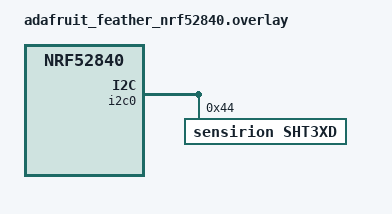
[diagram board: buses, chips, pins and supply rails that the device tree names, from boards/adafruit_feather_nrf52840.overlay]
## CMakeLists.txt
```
# SPDX-License-Identifier: Apache-2.0

cmake_minimum_required(VERSION 3.20.0)
find_package(Zephyr REQUIRED HINTS $ENV{ZEPHYR_BASE})
project(nrf52840sht31)

target_sources(app PRIVATE 
  src/main.c
  src/ble_service.c
)
```

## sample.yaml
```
sample:
  name: SHT31 Temperature and Humidity Sensor
  description: |
    This sample application demonstrates how to use the SHT31
    temperature and humidity sensor with an Adafruit nRF52840 board.
tests:
  sample.sensor.sht31:
    tags:
      - LED
      - gpio
      - sensors
      - i2c
    filter: dt_enabled_alias_with_parent_compat("led0", "gpio-leds") and dt_compat_enabled("sensirion,sht3xd")
    depends_on: gpio i2c
    harness: console
    harness_config:
      type: one_line
      regex:
        - "SHT31 Measurement:"
    integration_platforms:
      - adafruit_nrf52840
```

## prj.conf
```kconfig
CONFIG_GPIO=y
CONFIG_PRINTK=y
CONFIG_STDOUT_CONSOLE=y

# Sensor support (only when not using dummy)
CONFIG_I2C=y
CONFIG_SENSOR=y
CONFIG_SHT3XD=y

# Floating point support
CONFIG_CBPRINTF_FP_SUPPORT=y

# Math library support for dummy sensor
CONFIG_NEWLIB_LIBC=y
CONFIG_NEWLIB_LIBC_FLOAT_PRINTF=y

# CONFIG_HAS_BOOTLOADER=y
CONFIG_BOOTLOADER_MCUBOOT=n
CONFIG_BUILD_OUTPUT_UF2=y
CONFIG_USE_DT_CODE_PARTITION=y

# BLE Configuration for Eddystone
CONFIG_BT=y
CONFIG_BT_OBSERVER=y
CONFIG_BT_BROADCASTER=y
CONFIG_BT_DEVICE_NAME="nRF52840_DUMMY"

# Enable BLE controller
CONFIG_BT_CTLR=y
CONFIG_BT_LL_SW_SPLIT=y

# BLE advertisement settings
CONFIG_BT_DEVICE_NAME_DYNAMIC=y
CONFIG_BT_DEVICE_NAME_MAX=65

# Set the transmit power to the maximum +8 dBm for the nRF52840
CONFIG_BT_CTLR_TX_PWR_PLUS_8=y

# --- Enable Long-Range Coded PHY (based on Nordic sample) ---

# Enable Coded PHY support in the controller
CONFIG_BT_CTLR_PHY_CODED=y

# Enable Extended Advertising in controller
CONFIG_BT_CTLR_ADV_EXT=y

# Enable Extended Advertising APIs in the host
CONFIG_BT_EXT_ADV=y

# BLE debugging (enable to see what's happening)
CONFIG_LOG=y
CONFIG_LOG_DEFAULT_LEVEL=3
```

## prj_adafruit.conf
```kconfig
# GPIO and I2C support
CONFIG_GPIO=y
CONFIG_I2C=y
CONFIG_SENSOR=y
CONFIG_CBPRINTF_FP_SUPPORT=y
CONFIG_SHT3XD=y
CONFIG_PRINTK=y
CONFIG_STDOUT_CONSOLE=y

# Floating point support
CONFIG_NEWLIB_LIBC=y
CONFIG_NEWLIB_LIBC_FLOAT_PRINTF=y

# Bootloader settings for Adafruit board
# CONFIG_HAS_BOOTLOADER=y
CONFIG_BOOTLOADER_MCUBOOT=n
CONFIG_BUILD_OUTPUT_UF2=y
CONFIG_USE_DT_CODE_PARTITION=y

# BLE Configuration for Eddystone
CONFIG_BT=y
CONFIG_BT_OBSERVER=y
CONFIG_BT_BROADCASTER=y
CONFIG_BT_DEVICE_NAME="nRF52840_SHT31"

# Use static MAC address to avoid changing addresses
CONFIG_BT_PRIVACY=n
CONFIG_BT_ID_MAX=1

# Enable BLE controller
CONFIG_BT_CTLR=y

# BLE advertisement settings
CONFIG_BT_DEVICE_NAME_MAX=65

# Set the transmit power to the maximum +8 dBm for the nRF52840
CONFIG_BT_CTLR_TX_PWR_PLUS_8=y

# --- Enable Long-Range Coded PHY (based on Nordic sample) ---

# Enable Coded PHY support in the controller
CONFIG_BT_CTLR_PHY_CODED=y

# Enable Extended Advertising in controller
CONFIG_BT_CTLR_ADV_EXT=y

# Enable Extended Advertising APIs in the host
CONFIG_BT_EXT_ADV=y

# Logging
CONFIG_LOG=y
CONFIG_LOG_DEFAULT_LEVEL=3
```

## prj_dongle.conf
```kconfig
# Base configuration
CONFIG_GPIO=y
CONFIG_I2C=y
CONFIG_SENSOR=y
CONFIG_CBPRINTF_FP_SUPPORT=y
CONFIG_SHT3XD=y
CONFIG_PRINTK=y
CONFIG_STDOUT_CONSOLE=y

# Math library support for dummy sensor
CONFIG_NEWLIB_LIBC=y
CONFIG_NEWLIB_LIBC_FLOAT_PRINTF=y

# BLE Configuration for Eddystone
CONFIG_BT=y
CONFIG_BT_OBSERVER=y
CONFIG_BT_BROADCASTER=y
CONFIG_BT_DEVICE_NAME="nRF52840_DUMMY"

# Use static MAC address to avoid changing addresses
CONFIG_BT_PRIVACY=n
CONFIG_BT_ID_MAX=1

# Enable BLE controller
CONFIG_BT_CTLR=y

# BLE advertisement settings
CONFIG_BT_DEVICE_NAME_DYNAMIC=y
CONFIG_BT_DEVICE_NAME_MAX=65

# Set the transmit power to the maximum +8 dBm for the nRF52840
CONFIG_BT_CTLR_TX_PWR_PLUS_8=y

# --- Enable Long-Range Coded PHY (based on Nordic sample) ---

# Enable Coded PHY support in the controller
CONFIG_BT_CTLR_PHY_CODED=y

# Enable Extended Advertising in controller
CONFIG_BT_CTLR_ADV_EXT=y

# Enable Extended Advertising APIs in the host
CONFIG_BT_EXT_ADV=y

# Logging
CONFIG_LOG=y
CONFIG_LOG_DEFAULT_LEVEL=3

# CONFIG_HAS_BOOTLOADER=y
CONFIG_BOOTLOADER_MCUBOOT=n
CONFIG_BUILD_OUTPUT_UF2=y
CONFIG_USE_DT_CODE_PARTITION=y
# CONFIG_BOOTLOADER_MCUBOOT=y
```

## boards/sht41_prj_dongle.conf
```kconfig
# SHT41 Configuration for nRF52840 Dongle
# Base configuration
CONFIG_GPIO=y
CONFIG_I2C=y
CONFIG_SENSOR=y
CONFIG_CBPRINTF_FP_SUPPORT=y
CONFIG_SHT4X=y
CONFIG_PRINTK=y
CONFIG_STDOUT_CONSOLE=y

# BLE Configuration
CONFIG_BT=y
CONFIG_BT_PERIPHERAL=y
CONFIG_BT_DEVICE_NAME="nRF52840_SHT31"
CONFIG_BT_DEVICE_APPEARANCE=833
CONFIG_BT_MAX_CONN=3
CONFIG_BT_GATT_DYNAMIC_DB=y

# Enable BLE services
CONFIG_BT_DIS=y
CONFIG_BT_DIS_MANUF="Nordic"
CONFIG_BT_DIS_MODEL="nRF52840 Dongle"
CONFIG_BT_DIS_HW_REV=y
CONFIG_BT_DIS_FW_REV=y
CONFIG_BT_DIS_SW_REV=y

# BLE advertisement
CONFIG_BT_DEVICE_NAME_DYNAMIC=y
CONFIG_BT_DEVICE_NAME_MAX=65

# # Logging
# CONFIG_LOG=y
# CONFIG_BT_DEBUG_LOG=y
```

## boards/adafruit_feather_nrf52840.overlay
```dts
/*
 * Copyright (c) 2023 Nordic Semiconductor ASA
 *
 * SPDX-License-Identifier: Apache-2.0
 */

&i2c0 {
    status = "okay";

    sht3xd: sht31d@44 {
        compatible = "sensirion,sht3xd";
        reg = <0x44>; /* Use 0x45 if your sensor uses the alternate address */
        label = "SHT3XD";
    };
};
```

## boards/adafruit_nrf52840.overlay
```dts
/*
 * Copyright (c) 2023 Nordic Semiconductor ASA
 *
 * SPDX-License-Identifier: Apache-2.0
 */

// &i2c0 {
// 	status = "okay";
// 	sht31: sht31@44 {
// 		compatible = "sensirion,sht3xd";
// 		reg = <0x44>;
// 		status = "okay";
// 	};
// };

&i2c0 {
    status = "okay";

    sht3xd: sht31d@44 {
        compatible = "sensirion,sht3xd";
        reg = <0x44>; /* Use 0x45 if your sensor uses the alternate address */
        label = "SHT3XD";
    };
};
```

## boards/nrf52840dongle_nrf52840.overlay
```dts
/*
 * Copyright (c) 2023 Nordic Semiconductor ASA
 *
 * SPDX-License-Identifier: Apache-2.0
 */

/* Configure I2C0 for SHT31 sensor */
&i2c0 {
	status = "okay";
	clock-frequency = <I2C_BITRATE_STANDARD>;

	sht31: sht31@44 {
		compatible = "sensirion,sht3xd";
		reg = <0x44>;
		status = "okay";
	};
};

/* Use the red LED on the nRF52840 Dongle */
/ {
	aliases {
		led0 = &led1_red;
	};
};
```

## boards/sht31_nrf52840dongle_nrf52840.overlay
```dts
/*
 * Copyright (c) 2023 Nordic Semiconductor ASA
 *
 * SPDX-License-Identifier: Apache-2.0
 */

/* Configure I2C0 for SHT31 sensor */
&i2c0 {
	status = "okay";
	clock-frequency = <I2C_BITRATE_STANDARD>;
	pinctrl-0 = <&i2c0_default>;
	pinctrl-1 = <&i2c0_sleep>;
	pinctrl-names = "default", "sleep";

	sht31: sht31@44 {
		compatible = "sensirion,sht3xd";
		reg = <0x44>;
		status = "okay";
	};
};

/* Define I2C pinctrl settings to use pins 0.15 (SCL) and 0.17 (SDA) */
&pinctrl {
	i2c0_default: i2c0_default {
		group1 {
			psels = <NRF_PSEL(TWIM_SCL, 0, 15)>,
				<NRF_PSEL(TWIM_SDA, 0, 17)>;
			bias-pull-up;
		};
	};

	i2c0_sleep: i2c0_sleep {
		group1 {
			psels = <NRF_PSEL(TWIM_SCL, 0, 15)>,
				<NRF_PSEL(TWIM_SDA, 0, 17)>;
			low-power-enable;
		};
	};
};

/* Use the red LED on the nRF52840 Dongle */
/ {
	aliases {
		led0 = &led1_red;
	};
};
```

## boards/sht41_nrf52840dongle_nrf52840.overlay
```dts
/*
 * Copyright (c) 2023 Nordic Semiconductor ASA
 *
 * SPDX-License-Identifier: Apache-2.0
 */

/* Configure I2C0 for SHT41 sensor */
&i2c0 {
	status = "okay";
	clock-frequency = <I2C_BITRATE_STANDARD>;
	pinctrl-0 = <&i2c0_default>;
	pinctrl-1 = <&i2c0_sleep>;
	pinctrl-names = "default", "sleep";

	sht41: sht41@44 {
		compatible = "sensirion,sht4x";
		reg = <0x44>;
		repeatability = <2>;  /* 0:low, 1:medium, 2:high */
		status = "okay";
	};
};

/* Define I2C pinctrl settings to use pins 0.15 (SCL) and 0.17 (SDA) */
&pinctrl {
	i2c0_default: i2c0_default {
		group1 {
			psels = <NRF_PSEL(TWIM_SCL, 0, 15)>,
				<NRF_PSEL(TWIM_SDA, 0, 17)>;
		};
	};

	i2c0_sleep: i2c0_sleep {
		group1 {
			psels = <NRF_PSEL(TWIM_SCL, 0, 15)>,
				<NRF_PSEL(TWIM_SDA, 0, 17)>;
			low-power-enable;
		};
	};
};

/* Use the red LED on the nRF52840 Dongle */
/ {
	aliases {
		led0 = &led1_red;
	};
};
```

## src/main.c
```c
/*
 * Copyright (c) 2016 Intel Corporation
 * Copyright (c) 2023 Nordic Semiconductor ASA
 *
 * SPDX-License-Identifier: Apache-2.0
 */

#include <stdio.h>
#include <zephyr/kernel.h>
#include <zephyr/drivers/gpio.h>
#include <zephyr/drivers/sensor.h>
#include <zephyr/logging/log.h>
#include <math.h>
#include "conf.h"
#include "ble_service.h"

#if USE_SHT31
LOG_MODULE_REGISTER(sht31_ble, CONFIG_LOG_DEFAULT_LEVEL);
#elif USE_SHT41
LOG_MODULE_REGISTER(sht41_ble, CONFIG_LOG_DEFAULT_LEVEL);
#elif USE_DUMMY_SENSOR
LOG_MODULE_REGISTER(dummy_ble, CONFIG_LOG_DEFAULT_LEVEL);
#endif

/* The devicetree node identifier for the "led0" alias. */
#define LED0_NODE DT_ALIAS(led0)

#if USE_SHT31
/* The devicetree node identifier for the SHT31 sensor */
#define TEMP_HUM_SENSOR_NODE DT_INST(0, sensirion_sht3xd)
#define SENSOR_NAME "SHT31"
#elif USE_SHT41
/* The devicetree node identifier for the SHT41 sensor */
#define TEMP_HUM_SENSOR_NODE DT_INST(0, sensirion_sht4x)
#define SENSOR_NAME "SHT41"
#elif USE_DUMMY_SENSOR
#define SENSOR_NAME "DUMMY"
#endif

/* Forward declarations */
static void indicate_error(const struct gpio_dt_spec *led_dev, uint8_t error_code);
#if USE_DUMMY_SENSOR
static void process_dummy_sensor_sample(void);
#else
static void process_sensor_sample(const struct device *dev);
#endif

/*
 * A build error on this line means your board is unsupported.
 * See the sample documentation for information on how to fix this.
 */
static const struct gpio_dt_spec led = GPIO_DT_SPEC_GET(LED0_NODE, gpios);

void process_sensor_sample(const struct device *dev)
{
	struct sensor_value temp, hum;
	float temperature, humidity;
	static bool error_reported = false;
	
	if (sensor_sample_fetch(dev) < 0) {
		printf("%s sensor sample fetch failed\n", SENSOR_NAME);
		if (!error_reported) {
			indicate_error(&led, ERROR_SENSOR_FETCH_FAILED);
			error_reported = true;
		}
		return;
	}

	if (sensor_channel_get(dev, SENSOR_CHAN_AMBIENT_TEMP, &temp) < 0) {
		printf("Cannot read temperature data from %s\n", SENSOR_NAME);
		if (!error_reported) {
			indicate_error(&led, ERROR_SENSOR_TEMP_READ_FAILED);
			error_reported = true;
		}
		return;
	}

	if (sensor_channel_get(dev, SENSOR_CHAN_HUMIDITY, &hum) < 0) {
		printf("Cannot read humidity data from %s\n", SENSOR_NAME);
		if (!error_reported) {
			indicate_error(&led, ERROR_SENSOR_HUM_READ_FAILED);
			error_reported = true;
		}
		return;
	}
	
	/* If we've made it here, reset the error_reported flag */
	error_reported = false;

	/* Convert sensor values to floating point */
	temperature = sensor_value_to_double(&temp);
	humidity = sensor_value_to_double(&hum);
	/* Display temperature and humidity values */
	printf("%s Measurement:\n", SENSOR_NAME);
	printf("  Temperature: %.2f °C\n", (double)temperature);
	printf("  Humidity: %.2f %%\n", (double)humidity);

	/* Update BLE characteristics and notify connected clients */
	ble_update_sensor_values(temperature, humidity);
}



int main(void)
{
	int ret;
	bool led_state = true;
	
#if !USE_DUMMY_SENSOR
#if USE_SHT31
	const struct device *sensor_dev = DEVICE_DT_GET_ANY(sensirion_sht3xd);
#elif USE_SHT41
	const struct device *sensor_dev = DEVICE_DT_GET_ANY(sensirion_sht4x);
#endif
#endif

	/* Initialize LED first, as we'll need it to indicate errors */
	if (!gpio_is_ready_dt(&led)) {
		printf("Error: LED device is not ready\n");
		/* Can't indicate this error as LED isn't ready */
		return -1;
	}

	ret = gpio_pin_configure_dt(&led, GPIO_OUTPUT_ACTIVE);
	if (ret < 0) {
		printf("Error: Failed to configure LED pin\n");
		/* Can't indicate this error properly, but try a simple blink */
		gpio_pin_set_dt(&led, 1);
		k_msleep(100);
		gpio_pin_set_dt(&led, 0);
		return -1;
	}

	/* Initialize temperature/humidity sensor */
#if USE_DUMMY_SENSOR
	printf("%s sensor mode enabled (no physical sensor required)\n", SENSOR_NAME);
#else
	if (!device_is_ready(sensor_dev)) {
		printf("Error: %s device not found or not ready\n", SENSOR_NAME);
		indicate_error(&led, ERROR_SENSOR_NOT_READY);
		return -1;
	}
	printf("%s sensor is ready\n", SENSOR_NAME);
#endif
	printf("Sampling every %d ms\n", SLEEP_TIME_MS);
	
	/* Initialize Bluetooth */
	ret = ble_init();
	if (ret != 0) {
		printf("BLE initialization failed with error: %d\n", ret);
		indicate_error(&led, ERROR_BLE_INIT_FAILED);
		return -1;
	}

	while (1) {
		/* Toggle LED to indicate the system is running */
		ret = gpio_pin_toggle_dt(&led);
		if (ret < 0) {
			return -1;
		}

		led_state = !led_state;
		
		/* Sample and display sensor data */
#if USE_DUMMY_SENSOR
		process_dummy_sensor_sample();
#else
		process_sensor_sample(sensor_dev);
#endif
		
		/* Sleep for the specified time */
		k_msleep(SLEEP_TIME_MS);
	}
	return 0;
}

/*
 * Function to indicate error codes via LED blink patterns
 * Error code is indicated by number of fast blinks:
 * - LED will blink quickly N times, where N is the error code
 * - Then pause for ERROR_BLINK_PAUSE_MS
 * - Repeat the sequence ERROR_BLINK_REPEAT times
 */
static void indicate_error(const struct gpio_dt_spec *led_dev, uint8_t error_code)
{
	int ret;
	
	if (error_code == ERROR_NONE) {
		return; /* No error to indicate */
	}
	
	printf("Error occurred: Code %d\n", error_code);
	
	/* Repeat the error pattern multiple times */
	for (int repeat = 0; repeat < ERROR_BLINK_REPEAT; repeat++) {
		/* First, ensure LED is off */
		gpio_pin_set_dt(led_dev, 0);
		k_msleep(ERROR_BLINK_PAUSE_MS);
		
		/* Blink the LED according to error code */
		for (int i = 0; i < error_code; i++) {
			/* LED on */
			ret = gpio_pin_set_dt(led_dev, 1);
			if (ret < 0) {
				/* If LED control fails, we can't indicate errors */
				return;
			}
			k_msleep(ERROR_BLINK_FAST_MS);
			
			/* LED off */
			gpio_pin_set_dt(led_dev, 0);
			k_msleep(ERROR_BLINK_FAST_MS);
		}
		
		/* Pause between repeats */
		k_msleep(ERROR_BLINK_PAUSE_MS);
	}
}

#if USE_DUMMY_SENSOR
void process_dummy_sensor_sample(void)
{
	static float base_temperature = 22.5f;  /* Base temperature in Celsius */
	static float base_humidity = 45.0f;     /* Base humidity in percent */
	static float temp_offset = 0.0f;
	static float hum_offset = 0.0f;
	static int sample_count = 0;
	
	float temperature, humidity;
	
	/* Generate realistic varying sensor data */
	sample_count++;
	
	/* Create slow temperature variation (sine wave with period of ~60 samples) */
	temp_offset = 3.0f * sin((double)sample_count * 0.1);
	
	/* Create slow humidity variation (cosine wave with period of ~80 samples) */
	hum_offset = 15.0f * cos((double)sample_count * 0.08);
	
	/* Add some random noise */
	temp_offset += ((float)(k_uptime_get_32() % 100) - 50.0f) / 100.0f;  /* ±0.5°C noise */
	hum_offset += ((float)(k_uptime_get_32() % 200) - 100.0f) / 50.0f;   /* ±2% noise */
	
	temperature = base_temperature + temp_offset;
	humidity = base_humidity + hum_offset;
	
	/* Clamp humidity to realistic range */
	if (humidity < 0.0f) humidity = 0.0f;
	if (humidity > 100.0f) humidity = 100.0f;
	
	/* Display temperature and humidity values */
	printf("%s Measurement (Sample #%d):\n", SENSOR_NAME, sample_count);
	printf("  Temperature: %.2f °C\n", (double)temperature);
	printf("  Humidity: %.2f %%\n", (double)humidity);

	/* Update BLE Eddystone broadcast with new sensor data */
	ble_update_sensor_values(temperature, humidity);
}
#endif
```

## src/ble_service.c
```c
/*
 * Copyright (c) 2024 Your Company
 *
 * SPDX-License-Identifier: Apache-2.0
 */

#include <zephyr/kernel.h>
#include <zephyr/logging/log.h>
#include <zephyr/sys/byteorder.h>
#include <zephyr/sys/util.h>
#include <zephyr/bluetooth/bluetooth.h>
#include <stdio.h>
#include "ble_service.h"
#include "conf.h"

#if USE_SHT31
LOG_MODULE_DECLARE(sht31_ble, CONFIG_LOG_DEFAULT_LEVEL);
/* BLE definitions */
#define DEVICE_NAME "nRF52840_SHT31"
#elif USE_SHT41
LOG_MODULE_DECLARE(sht41_ble, CONFIG_LOG_DEFAULT_LEVEL);
/* BLE definitions */
#define DEVICE_NAME "nRF52840_SHT41"
#elif USE_DUMMY_SENSOR
LOG_MODULE_DECLARE(dummy_ble, CONFIG_LOG_DEFAULT_LEVEL);
/* BLE definitions */
#define DEVICE_NAME "nRF52840_DUMMY"
#endif

#define DEVICE_NAME_LEN (sizeof(DEVICE_NAME) - 1)

/* Eddystone frame types */
#define EDDYSTONE_TLM_FRAME_TYPE    0x20

/* Eddystone-TLM frame structure (fixed size) */
struct eddystone_tlm_frame {
	uint8_t frame_type;      /* 0x20 for TLM */
	uint8_t version;         /* TLM version (0x00) */
	uint16_t battery_voltage; /* Battery voltage in mV (big endian) */
	uint16_t temperature;    /* Temperature in 8.8 fixed point (big endian) */
	uint32_t adv_count;      /* Advertisement count (big endian) */
	uint32_t uptime;         /* Uptime in 0.1s increments (big endian) */
} __packed;

/* Temperature and humidity data */
static float current_temperature = 0.0f;
static float current_humidity = 0.0f;
static uint32_t advertisement_count = 0;
static bool advertising_started = false;

/* Extended advertising set for long-range BLE */
static struct bt_le_ext_adv *adv_set;

/* Eddystone-TLM advertisement data buffer */
static uint8_t tlm_data[14];  /* TLM frame is exactly 14 bytes */
static uint8_t tlm_data_len = sizeof(struct eddystone_tlm_frame);

/* Function to encode sensor data into Eddystone-TLM format */
static int encode_sensor_tlm(float temperature, float humidity)
{
	struct eddystone_tlm_frame *tlm = (struct eddystone_tlm_frame *)tlm_data;
	
	/* Increment advertisement count */
	advertisement_count++;
	
	/* Fill TLM frame */
	tlm->frame_type = EDDYSTONE_TLM_FRAME_TYPE;
	tlm->version = 0x00;  /* TLM version 0 */
	
	/* Battery voltage - we'll encode humidity here (0-100% as 0-3300mV) */
	tlm->battery_voltage = sys_cpu_to_be16((uint16_t)(humidity * 33));
	
	/* Temperature in 8.8 fixed point format (big endian) */
	/* Convert to 8.8: multiply by 256 and store as 16-bit big endian */
	int16_t temp_8_8 = (int16_t)(temperature * 256);
	tlm->temperature = sys_cpu_to_be16((uint16_t)temp_8_8);
	
	/* Advertisement count (big endian) */
	tlm->adv_count = sys_cpu_to_be32(advertisement_count);
	
	/* Uptime in 0.1s increments (big endian) */
	uint32_t uptime_deciseconds = k_uptime_get_32() / 100;  /* Convert ms to 0.1s */
	tlm->uptime = sys_cpu_to_be32(uptime_deciseconds);
	
	LOG_INF("TLM: T=%.2f°C, H=%.2f%%, Count=%u, Uptime=%u.%us", 
		(double)temperature, (double)humidity, 
		advertisement_count, uptime_deciseconds/10, uptime_deciseconds%10);
	LOG_INF("Encoded TLM data length: %d", tlm_data_len);
	
	return 0;
}

/* Create extended advertising set for coded PHY */
static int create_advertising_coded(void)
{
	int err;
	
	/* Configure extended advertising parameters for Coded PHY */
	struct bt_le_adv_param param = BT_LE_ADV_PARAM_INIT(
		BT_LE_ADV_OPT_EXT_ADV | BT_LE_ADV_OPT_CODED,  /* Extended advertising with Coded PHY */
		BT_GAP_ADV_FAST_INT_MIN_2,  /* Min advertising interval */
		BT_GAP_ADV_FAST_INT_MAX_2,  /* Max advertising interval */
		NULL);  /* No peer address */

	LOG_INF("Creating extended advertising set for long-range BLE...");

	/* Create the extended advertising set */
	err = bt_le_ext_adv_create(&param, NULL, &adv_set);
	if (err) {
		LOG_ERR("Failed to create advertising set (err %d)", err);
		return err;
	}

	LOG_INF("Created advertising set successfully");

	return 0;
}

/* Start extended advertising */
static void start_advertising_coded(void)
{
	int err;

	err = bt_le_ext_adv_start(adv_set, BT_LE_EXT_ADV_START_DEFAULT);
	if (err) {
		LOG_ERR("Failed to start advertising set (err %d)", err);
		return;
	}

	advertising_started = true;
	LOG_INF("Advertiser set started with Coded PHY for long range");
}

/* BLE advertisement data for Eddystone-TLM */
static struct bt_data ad[] = {
	BT_DATA_BYTES(BT_DATA_FLAGS, (BT_LE_AD_GENERAL | BT_LE_AD_NO_BREDR)),
	BT_DATA_BYTES(BT_DATA_UUID16_ALL, 0xaa, 0xfe), /* Eddystone Service UUID */
	BT_DATA(BT_DATA_SVC_DATA16, tlm_data, 0), /* Will be updated with actual data */
	BT_DATA(BT_DATA_NAME_COMPLETE, DEVICE_NAME, DEVICE_NAME_LEN), /* Device name */
};

/* Initialize BLE */
static void bt_ready(int err)
{
	LOG_INF("bt_ready callback called with err=%d", err);
	
	if (err) {
		LOG_ERR("Bluetooth init failed (err %d)", err);
		return;
	}

	LOG_INF("Bluetooth initialized successfully");
	
	/* Initial TLM encoding with default values */
	LOG_INF("Encoding initial TLM with T=%.2f, H=%.2f", 
		(double)current_temperature, (double)current_humidity);
		
	if (encode_sensor_tlm(current_temperature, current_humidity) < 0) {
		LOG_ERR("Failed to encode initial TLM");
		return;
	}

	LOG_INF("TLM encoded successfully, length=%d", tlm_data_len);

	/* Update advertisement data with encoded TLM */
	ad[2].data = tlm_data;
	ad[2].data_len = tlm_data_len;

	/* Create advertising set */
	err = create_advertising_coded();
	if (err) {
		LOG_ERR("Advertising failed to create (err %d)", err);
		return;
	}

	LOG_INF("Setting advertising data for extended advertising...");

	/* Set the advertising data for this set */
	err = bt_le_ext_adv_set_data(adv_set, ad, ARRAY_SIZE(ad), NULL, 0);
	if (err) {
		LOG_ERR("Failed to set advertising data (err %d)", err);
		return;
	}

	/* Start advertising */
	start_advertising_coded();
}


int ble_init(void)
{
	int err;

	LOG_INF("Starting BLE initialization...");

	/* Initialize BLE stack */
	err = bt_enable(bt_ready);
	if (err) {
		LOG_ERR("BLE initialization failed (err %d)", err);
		return err;
	}
	
	LOG_INF("BLE enable called successfully, waiting for bt_ready callback...");
	return 0;  /* Success */
}

void ble_update_sensor_values(float temperature, float humidity)
{
	int err;
	
	/* Update current values */
	current_temperature = temperature;
	current_humidity = humidity;
	
	LOG_INF("Updating Eddystone TLM with T=%.2f°C, H=%.2f%%", 
		(double)temperature, (double)humidity);

	/* Encode new sensor data into TLM */
	if (encode_sensor_tlm(temperature, humidity) < 0) {
		LOG_ERR("Failed to encode sensor TLM");
		return;
	}

	/* Only update advertising if already started */
	if (!advertising_started) {
		LOG_INF("Advertising not started yet, will be handled by bt_ready callback");
		return;
	}

	/* For ongoing updates, we need to stop and restart advertising to update the data */
	LOG_INF("Updating extended advertising with new TLM data (count=%u)", advertisement_count);
	
	/* Stop current extended advertising */
	err = bt_le_ext_adv_stop(adv_set);
	if (err && err != -EALREADY) {  /* -EALREADY means already stopped */
		LOG_ERR("Failed to stop extended advertising (err %d)", err);
		return;
	}

	/* Update advertisement data with new TLM */
	ad[2].data = tlm_data;
	ad[2].data_len = tlm_data_len;

	/* Set the updated advertising data */
	err = bt_le_ext_adv_set_data(adv_set, ad, ARRAY_SIZE(ad), NULL, 0);
	if (err) {
		LOG_ERR("Failed to set updated advertising data (err %d)", err);
		return;
	}

	/* Restart extended advertising with updated data */
	err = bt_le_ext_adv_start(adv_set, BT_LE_EXT_ADV_START_DEFAULT);
	if (err) {
		LOG_ERR("Failed to restart extended advertising (err %d)", err);
		advertising_started = false;
		return;
	}
	
	LOG_INF("Long-range Eddystone-TLM advertising updated with new sensor data");
}
```

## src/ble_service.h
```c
/*
 * Copyright (c) 2024 Your Company
 *
 * SPDX-License-Identifier: Apache-2.0
 */

#ifndef BLE_SERVICE_H_
#define BLE_SERVICE_H_

#include <zephyr/bluetooth/bluetooth.h>
#include <zephyr/bluetooth/hci.h>

/* Initialize BLE stack and start Eddystone advertising */
int ble_init(void);

/* Update sensor values and restart Eddystone advertising with new data */
void ble_update_sensor_values(float temperature, float humidity);

#endif /* BLE_SERVICE_H_ */
```

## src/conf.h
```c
/*
 * Copyright (c) 2024 Your Company
 *
 * SPDX-License-Identifier: Apache-2.0
 */

#ifndef MAIN_H_
#define MAIN_H_

/* Sensor type configuration */
/* Set only one of these to 1, the others to 0 */
#define USE_SHT31 0
#define USE_SHT41 0
#define USE_DUMMY_SENSOR 1  /* Enable dummy sensor for testing (no physical sensor required) */

/* Common definitions regardless of sensor type */
#define SLEEP_TIME_MS   2000

/* Error code definitions */
#define ERROR_NONE                     0
#define ERROR_LED_INIT                 1  /* LED device not ready */
#define ERROR_LED_CONFIG               2  /* Failed to configure LED */
#define ERROR_SENSOR_NOT_READY         3  /* Temperature/humidity sensor not ready */
#define ERROR_SENSOR_FETCH_FAILED      4  /* Failed to fetch sensor data */
#define ERROR_SENSOR_TEMP_READ_FAILED  5  /* Failed to read temperature data */
#define ERROR_SENSOR_HUM_READ_FAILED   6  /* Failed to read humidity data */
#define ERROR_BLE_INIT_FAILED          7  /* BLE initialization failed */

/* Error indication parameters */
#define ERROR_BLINK_FAST_MS           200  /* Fast blink - 200ms on/off */
#define ERROR_BLINK_SLOW_MS           500  /* Slow blink - 500ms on/off */
#define ERROR_BLINK_PAUSE_MS         1500  /* Pause between error code sequences */
#define ERROR_BLINK_REPEAT           1000  /* Number of times to repeat error pattern */

#endif /* MAIN_H_ */
```
